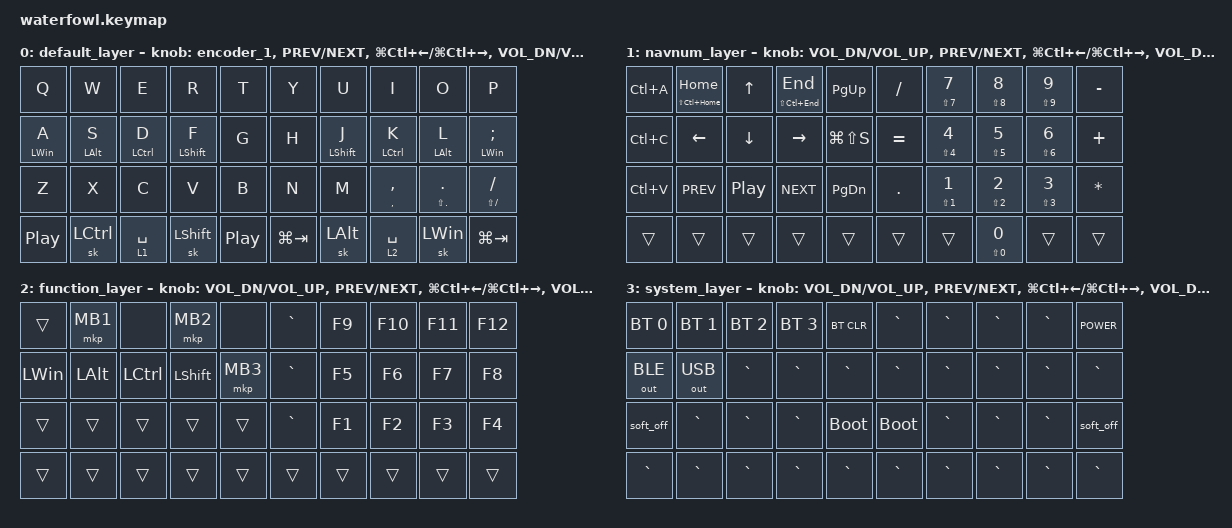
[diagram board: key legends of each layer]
/*
 * Copyright (c) 2022 The ZMK Contributors
 *
 * SPDX-License-Identifier: MIT
 */

#include <behaviors.dtsi>
#include <dt-bindings/zmk/bt.h>
#include <dt-bindings/zmk/keys.h>
#include <dt-bindings/zmk/mouse.h>
#include <dt-bindings/zmk/outputs.h>

#define HM_TAPPING_TERM 300
#define HM_TAPPING_TERM_FAST 200
#define HM_PRIOR_IDLE 150

&soft_off { hold-time-ms = <5000>; };

/ {
    combos {
        compatible = "zmk,combos";

        combo_GRAVE {
            bindings = <&ht LS(GRAVE) GRAVE>;
            key-positions = <1 2>;
            timeout-ms = <25>;
        };

        combo_TAB {
            bindings = <&kp TAB>;
            key-positions = <0 1>;
        };

        combo_ESC {
            bindings = <&kp ESC>;
            key-positions = <13 14>;
        };

        combo_BACKSPACE {
            bindings = <&kp BACKSPACE>;
            key-positions = <15 16>;
        };

        combo_DELETE {
            bindings = <&kp DELETE>;
            key-positions = <37 16 15>;
        };

        combo_ENTER {
            bindings = <&kp ENTER>;
            key-positions = <16 17>;
        };

        combo_MINUS {
            bindings = <&ht LS(UNDERSCORE) MINUS>;
            key-positions = <16 17 18>;
            require-prior-idle-ms = <(-1)>;
        };

        combo_PLUS {
            bindings = <&ht LS(EQUAL) EQUAL>;
            key-positions = <16 18>;
            require-prior-idle-ms = <(-1)>;
        };

        combo_LEFT_PARENTHESIS {
            bindings = <&ht RIGHT_PARENTHESIS LEFT_PARENTHESIS>;
            key-positions = <7 16>;
        };

        combo_LEFT_BRACE {
            bindings = <&ht RIGHT_BRACE LEFT_BRACE>;
            key-positions = <8 16>;
        };

        combo_LEFT_BRACKET {
            bindings = <&ht RIGHT_BRACKET LEFT_BRACKET>;
            key-positions = <16 27>;
        };

        combo_BACKSLASH {
            bindings = <&ht LS(BACKSLASH) BACKSLASH>;
            key-positions = <5 16>;
        };

        combo_SINGLE_QUOTE {
            bindings = <&ht LS(SINGLE_QUOTE) SQT>;
            key-positions = <7 8>;
            timeout-ms = <25>;
        };

        combo_caps_word {
            bindings = <&caps_word>;
            key-positions = <13 16>;
        };

        combo_app {
            bindings = <&kp K_CONTEXT_MENU>;
            key-positions = <37 38>;
        };

        combo_hard_delete {
            bindings = <&kp LC(LS(DEL))>;
            key-positions = <36 37 33>;
        };
    };

    behaviors {
        // Positional Homerow mods
        // Homerow mods that prevent accidental activations when rolling keys,
        // such as when typing `st` or `ne` on colemak-dh layouts or `as` on
        // qwerty.
        //
        // Works by only allowing a mod to activate within tapping-term if
        // it's on the opposite side of the keyboard or on the same side thumb
        // keys.
        // Further optimization using urob's timerless homerow mods method:
        // https://github.com/urob/zmk-config#timeless-homerow-mods

        hm_l: homerow_mods_left {
            compatible = "zmk,behavior-hold-tap";
            #binding-cells = <2>;
            bindings = <&kp>, <&kp>;

            flavor = "balanced";
            tapping-term-ms = <HM_TAPPING_TERM>;
            quick-tap-ms = <175>;                // repeat on tap-into-hold
            require-prior-idle-ms = <HM_PRIOR_IDLE>;
            hold-trigger-key-positions = <5 6 7 8 5 6 7 8 9 15 16 17 18 19 25 26 27 28 29 35 36 37 38 39 30 31 32 33 34 20 21 22 23>;
            hold-trigger-on-release;
        };

        hm_r: homerow_mods_right {
            compatible = "zmk,behavior-hold-tap";
            #binding-cells = <2>;
            bindings = <&kp>, <&kp>;

            flavor = "balanced";
            tapping-term-ms = <HM_TAPPING_TERM>;
            quick-tap-ms = <175>;
            require-prior-idle-ms = <HM_PRIOR_IDLE>;
            hold-trigger-key-positions = <0 1 2 3 4 10 11 12 13 14 20 21 22 23 24 30 31 32 33 34 35 36 37 38 39>;
            hold-trigger-on-release;
        };

        // Positional Homerow mods for shift
        // Use faster tapping term and disable some features that may
        // cause false negatives.

        hm_shift_l: hm_shift_l {
            compatible = "zmk,behavior-hold-tap";
            #binding-cells = <2>;
            bindings = <&kp>, <&kp>;

            flavor = "balanced";
            tapping-term-ms = <HM_TAPPING_TERM_FAST>;
            quick-tap-ms = <175>;
            require-prior-idle-ms = <HM_PRIOR_IDLE>;
            hold-trigger-key-positions = <5 6 7 8 9 15 16 17 18 19 25 26 27 28 29 35 36 37 38 39 30 31 32 33 34>;

            // hold-trigger-on-release;
        };

        hm_shift_r: hm_shift_r {
            compatible = "zmk,behavior-hold-tap";
            #binding-cells = <2>;
            bindings = <&kp>, <&kp>;

            flavor = "balanced";
            tapping-term-ms = <HM_TAPPING_TERM_FAST>;
            quick-tap-ms = <175>;
            require-prior-idle-ms = <HM_PRIOR_IDLE>;
            hold-trigger-key-positions = <0 1 2 3 4 10 11 12 13 14 20 21 22 23 24 30 31 32 33 34 35 36 37 38 39>;

            // hold-trigger-on-release;
        };

        /*
         * Non-Positional Homerow Mods
         * Used for &mm_grescm_gui behavior on left hand.
         *
         * Usage: &hm LSHFT T
         * Tap: T
         * Tap-Tap-Hold: Repeat T
         * Hold: LSHIFT
         */

        hm: homerow_mods {
            compatible = "zmk,behavior-hold-tap";
            #binding-cells = <2>;
            bindings = <&kp>, <&kp>;

            flavor = "balanced";
            tapping-term-ms = <HM_TAPPING_TERM>;
            quick-tap-ms = <200>;
        };

        ht: ht {
            compatible = "zmk,behavior-hold-tap";
            label = "ht";
            #binding-cells = <2>;
            tapping-term-ms = <250>;
            bindings = <&kp>, <&kp>;

            flavor = "tap-preferred";
            require-prior-idle-ms = <150>;
        };

        encoder_1: encoder_1 {
            compatible = "zmk,behavior-sensor-rotate";
            label = "ENCODER_1";
            #sensor-binding-cells = <0>;
            bindings = <&voldn_prev>, <&volup_skip>;
        };

        volup_skip: volup_skip {
            compatible = "zmk,behavior-mod-morph";
            label = "VOLUP_SKIP";
            bindings = <&kp C_VOL_UP>, <&kp C_NEXT>;

            #binding-cells = <0>;
            mods = <(MOD_LCTL)>;
        };

        voldn_prev: voldn_prev {
            compatible = "zmk,behavior-mod-morph";
            label = "VOLDN_PREV";
            bindings = <&kp C_VOL_DN>, <&kp C_PREV>;

            #binding-cells = <0>;
            mods = <(MOD_LCTL)>;
        };
    };

    keymap {
        compatible = "zmk,keymap";

        default_layer {
            /* QWERTY
		 *
		 * ,----------------------------------.                      ,----------------------------------.
		 * |   0  |   1  |   2  |   3  |   4  |                      |   5  |   6  |   7  |   8  |   9  |
		 * |------+------+------+------+------|                      |------+------+------+------+------|
		 * |   10 |  11  |   12 |  13  |  14  |                      |  15  |   16 |  17  |  18  |  19  |
		 * |------+------+------+------+------|  ,-----.    ,-----.  |------+------+------+------+------|
		 * |  20  |  21  |   22 |  23  |  24  |  |  34 |    | 35  |  |  25  |   26  |  27  |  28 |  29  |
		 * `----------------------------------'  `-----'    `-----'  `----------------------------------'
		 *          ,-----.   ,--------------------.            ,--------------------.   ,-----.
		 *          | 30  |   |  31  | 32   | 33   |            |  36   | 37 | 38   |  |   39  |
		 *          `-----'   `--------------------'            `--------------------'   `-----'
		 */

            bindings = <
&kp Q             &kp W             &kp E          &kp R                     &kp T               &kp Y        &kp U                     &kp I            &kp O               &kp P
&hm_l LEFT_WIN A  &hm_l LEFT_ALT S  &hm_l LCTRL D  &hm_shift_l LEFT_SHIFT F  &kp G               &kp H        &hm_shift_r LEFT_SHIFT J  &hm_r LCTRL K    &hm_r LEFT_ALT L    &hm_r LEFT_WIN SEMICOLON
&kp Z             &kp X             &kp C          &kp V                     &kp B               &kp N        &kp M                     &ht COMMA COMMA  &ht LS(DOT) PERIOD  &ht LS(FSLH) SLASH
&kp C_PLAY_PAUSE  &sk LCTRL         &lt 1 SPACE    &sk LEFT_SHIFT            &kp C_PLAY_PAUSE    &kp LG(TAB)  &sk LEFT_ALT              &lt 2 SPACE      &sk LEFT_WIN        &kp LG(TAB)
            >;

            sensor-bindings =
                <&encoder_1>,
                <&inc_dec_kp C_PREV C_NEXT>,
                <&inc_dec_kp LG(LC(LEFT)) LG(LC(RIGHT))>,
                <&inc_dec_kp C_VOL_DN C_VOL_UP>;
        };

        navnum_layer {
            /* NAVNUM
		 *
		 * ,----------------------------------.                      ,----------------------------------.
		 * |      | PgUp |  UP  | PgDn |      |                      |   /  |   7  |   8  |   9  |   -  |
		 * |------+------+------+------+------|                      |------+------+------+------+------|
		 * | Home | Left | Down | Right| End  |                      |   =  |   4  |   5  |   6  |   +  |
		 * |------+------+------+------+------|  ,-----.    ,-----.  |------+------+------+------+------|
		 * |      |      |  INS |      |      |  |  2  |    |  3  |  |   0  |   1  |   2  |   3  |   *  |
		 * `----------------------------------'  `-----'    `-----'  `----------------------------------'
		 *          ,-----.   ,--------------------.            ,--------------------.   ,-----.
		 *          |  1  |   | DEL | SPACE | MO(3)|            |  ESC  | BS | ENTER |   |  4  |
		 *          `-----'   `--------------------'            `--------------------'   `-----'
		 */

            bindings = <
&kp LC(A)  &ht LS(LC(HOME)) HOME  &kp UP    &ht LS(LC(END)) END  &kp PAGE_UP      &kp FSLH    &ht LS(N7) N7              &ht LS(N8) N8              &ht LS(N9) N9              &kp MINUS
&kp LC(C)  &kp LEFT               &kp DOWN  &kp RIGHT            &kp LG(LS(S))    &kp EQUAL   &ht LS(NUMBER_4) NUMBER_4  &ht LS(N5) N5              &ht LS(NUMBER_6) NUMBER_6  &kp PLUS
&kp LC(V)  &kp C_PREV             &kp C_PP  &kp C_NEXT           &kp PAGE_DOWN    &kp PERIOD  &ht LS(NUMBER_1) NUMBER_1  &ht LS(NUMBER_2) NUMBER_2  &ht LS(NUMBER_3) NUMBER_3  &kp ASTERISK
&trans     &trans                 &trans    &trans               &trans           &trans      &trans                     &ht LS(N0) N0              &trans                     &trans
            >;

            sensor-bindings =
                <&inc_dec_kp C_VOL_DN C_VOL_UP>,
                <&inc_dec_kp C_PREV C_NEXT>,
                <&inc_dec_kp LG(LC(LEFT)) LG(LC(RIGHT))>,
                <&inc_dec_kp C_VOL_DN C_VOL_UP>;
        };

        function_layer {
            /* SYM
		 *
		 * ,----------------------------------.                      ,----------------------------------.
		 * |   %  |   @  |   [  |   ]  |   \  |                      |      |      |   ^  |      |      |
		 * |------+------+------+------+------|                      |------+------+------+------+------|
		 * |   #  |   !  |   (  |   )  |   |  |                      |   _  |   '  |   "  |   ~  |   `  |
		 * |------+------+------+------+------|  ,-----.    ,-----.  |------+------+------+------+------|
		 * |   $  |      |   {  |   }  |   &  |  |  2  |    |  3  |  |      |      |      |      |      |
		 * `----------------------------------'  `-----'    `-----'  `----------------------------------'
		 *          ,-----.   ,--------------------.            ,--------------------.   ,-----.
		 *          |  1  |   | DEL | SPACE | TAB  |            |  ESC  | BS | ENTER |   |  4  |
		 *          `-----'   `--------------------'            `--------------------'   `-----'
		 */

            bindings = <
&trans        &mkp MB1      &none      &mkp MB2    &none       &kp GRAVE  &kp F9  &kp F10  &kp F11  &kp F12
&kp LEFT_WIN  &kp LEFT_ALT  &kp LCTRL  &kp LSHIFT  &mkp MB3    &kp GRAVE  &kp F5  &kp F6   &kp F7   &kp F8
&trans        &trans        &trans     &trans      &trans      &kp GRAVE  &kp F1  &kp F2   &kp F3   &kp F4
&trans        &trans        &trans     &trans      &trans      &trans     &trans  &trans   &trans   &trans
            >;

            sensor-bindings =
                <&inc_dec_kp C_VOL_DN C_VOL_UP>,
                <&inc_dec_kp C_PREV C_NEXT>,
                <&inc_dec_kp LG(LC(LEFT)) LG(LC(RIGHT))>,
                <&inc_dec_kp C_VOL_DN C_VOL_UP>;
        };

        system_layer {
            /* FUNC
		 *
		 * ,----------------------------------.                      ,----------------------------------.
		 * |      |      | BTCLR|      | Reset|                      | Reset|  F7  |  F8  |  F9  |  F11 |
		 * |------+------+------+------+------|                      |------+------+------+------+------|
		 * |  BT0 |  BT1 |  BT2 |  BT3 |  BT4 |                      |      |  F4  |  F5  |  F6  |  F12 |
		 * |------+------+------+------+------|  ,-----.    ,-----.  |------+------+------+------+------|
		 * |      |      |      |      |      |  |  2  |    |  3  |  |  F10 |  F1  |  F2  |  F3  |  F13 |
		 * `----------------------------------'  `-----'    `-----'  `----------------------------------'
		 *          ,-----.   ,--------------------.            ,--------------------.   ,-----.
		 *          |  1  |   | DEL | SPACE | TAB  |            |  ESC  | BS | ENTER |   |  4  |
		 *          `-----'   `--------------------'            `--------------------'   `-----'
		 */

            bindings = <
&bt BT_SEL 0  &bt BT_SEL 1  &bt BT_SEL 2  &bt BT_SEL 3  &bt BT_CLR     &kp GRAVE    &kp GRAVE  &kp GRAVE  &kp GRAVE  &kp C_POWER
&out OUT_BLE  &out OUT_USB  &kp GRAVE     &kp GRAVE     &kp GRAVE      &kp GRAVE    &kp GRAVE  &kp GRAVE  &kp GRAVE  &kp GRAVE
&soft_off     &kp GRAVE     &kp GRAVE     &kp GRAVE     &bootloader    &bootloader  &kp GRAVE  &kp GRAVE  &kp GRAVE  &soft_off
&kp GRAVE     &kp GRAVE     &kp GRAVE     &kp GRAVE     &kp GRAVE      &kp GRAVE    &kp GRAVE  &kp GRAVE  &kp GRAVE  &kp GRAVE
            >;

            sensor-bindings =
                <&inc_dec_kp C_VOL_DN C_VOL_UP>,
                <&inc_dec_kp C_PREV C_NEXT>,
                <&inc_dec_kp LG(LC(LEFT)) LG(LC(RIGHT))>,
                <&inc_dec_kp C_VOL_DN C_VOL_UP>;
        };
    };

    conditional_layers {
        compatible = "zmk,conditional-layers";

        system {
            if-layers = <1 2>;
            then-layer = <3>;
        };
    };
};
